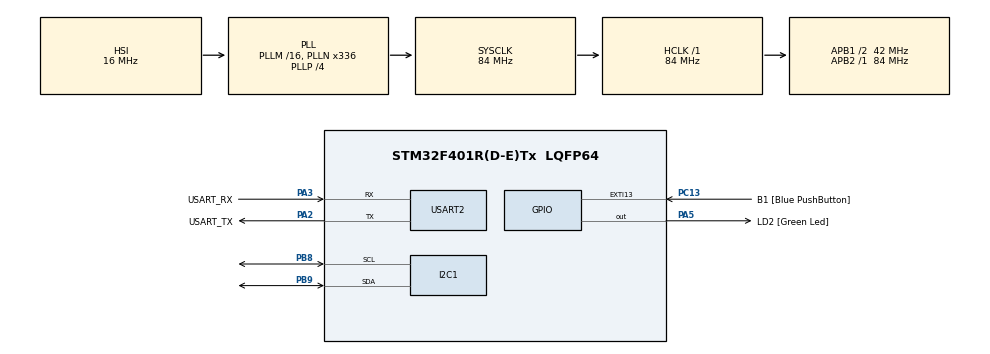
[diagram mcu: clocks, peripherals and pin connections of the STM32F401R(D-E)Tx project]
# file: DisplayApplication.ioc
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I2C1.I2C_Mode=I2C_Fast
Mcu.Family=STM32F4
Mcu.Name=STM32F401R(D-E)Tx
Mcu.Package=LQFP64
NVIC.PriorityGroup=NVIC_PRIORITYGROUP_0
PA13.GPIO_Label=TMS
PA13.Mode=Serial_Wire
PA13.Signal=SYS_JTMS-SWDIO
PA14.GPIO_Label=TCK
PA14.Mode=Serial_Wire
PA14.Signal=SYS_JTCK-SWCLK
PA2.GPIO_Label=USART_TX
PA2.GPIO_Mode=GPIO_MODE_AF_PP
PA2.GPIO_PuPd=GPIO_NOPULL
PA2.GPIO_Speed=GPIO_SPEED_FREQ_LOW
PA2.Mode=Asynchronous
PA2.Signal=USART2_TX
PA3.GPIO_Label=USART_RX
PA3.GPIO_Mode=GPIO_MODE_AF_PP
PA3.GPIO_PuPd=GPIO_NOPULL
PA3.GPIO_Speed=GPIO_SPEED_FREQ_LOW
PA3.Mode=Asynchronous
PA3.Signal=USART2_RX
PA5.GPIO_Label=LD2 [Green Led]
PA5.GPIO_Mode=GPIO_MODE_OUTPUT_PP
PA5.GPIO_PuPd=GPIO_NOPULL
PA5.GPIO_Speed=GPIO_SPEED_FREQ_LOW
PA5.Signal=GPIO_Output
PB3.GPIO_Label=SWO
PB3.Signal=SYS_JTDO-SWO
PB8.Mode=I2C
PB8.Signal=I2C1_SCL
PB9.Mode=I2C
PB9.Signal=I2C1_SDA
PC13-ANTI_TAMP.GPIO_Label=B1 [Blue PushButton]
PC13-ANTI_TAMP.GPIO_ModeDefaultEXTI=GPIO_MODE_IT_FALLING
PC13-ANTI_TAMP.GPIO_PuPd=GPIO_NOPULL
PC13-ANTI_TAMP.Signal=GPXTI13
PC14-OSC32_IN.Mode=LSE-External-Oscillator
PC14-OSC32_IN.Signal=RCC_OSC32_IN
PC15-OSC32_OUT.Mode=LSE-External-Oscillator
PC15-OSC32_OUT.Signal=RCC_OSC32_OUT
PH0\ -\ OSC_IN.Mode=HSE-External-Clock-Source
PH0\ -\ OSC_IN.Signal=RCC_OSC_IN
PH1\ -\ OSC_OUT.Mode=HSE-External-Clock-Source
PH1\ -\ OSC_OUT.Signal=RCC_OSC_OUT
ProjectManager.HeapSize=0x200
ProjectManager.StackSize=0x400
ProjectManager.TargetToolchain=STM32CubeIDE
RCC.48MHZClocksFreq_Value=48000000
RCC.AHBFreq_Value=84000000
RCC.APB1CLKDivider=RCC_HCLK_DIV2
RCC.APB1Freq_Value=42000000
RCC.APB1TimFreq_Value=84000000
RCC.APB2Freq_Value=84000000
RCC.APB2TimFreq_Value=84000000
RCC.CortexFreq_Value=84000000
RCC.HCLKFreq_Value=84000000
RCC.HSE_VALUE=8000000
RCC.HSI_VALUE=16000000
RCC.PLLN=336
RCC.PLLP=RCC_PLLP_DIV4
RCC.PLLQ=7
RCC.SYSCLKFreq_VALUE=84000000
RCC.SYSCLKSource=RCC_SYSCLKSOURCE_PLLCLK
RCC.VCOOutputFreq_Value=336000000
USART2.VirtualMode=VM_ASYNC
board=NUCLEO-F401RE

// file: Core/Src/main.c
/* USER CODE BEGIN Header */
/**
  ******************************************************************************
  * @file           : main.c
  * @brief          : Main program body
  ******************************************************************************
  * @attention
  *
  * Copyright (c) 2023 STMicroelectronics.
  * All rights reserved.
  *
  * This software is licensed under terms that can be found in the LICENSE file
  * in the root directory of this software component.
  * If no LICENSE file comes with this software, it is provided AS-IS.
  *
  ******************************************************************************
  */
/* USER CODE END Header */
#include "main.h"

/* USER CODE BEGIN Includes */
#include "stdio.h"
#include "fonts.h"
#include "ssd1306.h"

/* USER CODE END Includes */

/* USER CODE BEGIN PM */
#define MAJOR_VERSION	1
#define MINOR_VERSION	0
/* USER CODE END PM */

I2C_HandleTypeDef hi2c1;

UART_HandleTypeDef huart2;

/* USER CODE BEGIN PV */

uint8_t VerInfo[]= {MAJOR_VERSION,MINOR_VERSION};
uint8_t CountDn=20;
/* USER CODE END PV */

void SystemClock_Config(void);
static void MX_GPIO_Init(void);
static void MX_USART2_UART_Init(void);
static void MX_I2C1_Init(void);

int main(void)
{

  /* MCU Configuration--------------------------------------------------------*/

  /* Reset of all peripherals, Initializes the Flash interface and the Systick. */
  HAL_Init();

  /* Configure the system clock */
  SystemClock_Config();

  /* Initialize all configured peripherals */
  MX_GPIO_Init();
  MX_USART2_UART_Init();
  MX_I2C1_Init();
  /* USER CODE BEGIN 2 */
  SSD1306_Init();  // initialise
  SSD1306_Clear(); // Clear Content
  SSD1306_GotoXY (0,0);
  printf ("BootLoader  \n");
  SSD1306_GotoXY (0,20);
  printf("Version %d.%d\n",VerInfo[0],VerInfo[1]);
  SSD1306_UpdateScreen(); //display
  HAL_Delay (2000);
  NewScreen("Jumping To", "Application", "");

  /* USER CODE END 2 */

  /* Infinite loop */
  while (1)
  {
    /* USER CODE BEGIN 3 */
	  if(CountDn>0)
	  {
		  SSD1306_GotoXY (0,40);
		  	  CountDn--;
		  	  printf("    %d      \n",CountDn);
		  	  HAL_Delay (1000);
		  	  SSD1306_UpdateScreen(); //display
		  	  if(CountDn==0)
		  	  {
		  		NewScreen("Application", "1.1","");
		  	  }
	  }
  }
  /* USER CODE END 3 */
}

void SystemClock_Config(void)
{
  RCC_OscInitTypeDef RCC_OscInitStruct = {0};
  RCC_ClkInitTypeDef RCC_ClkInitStruct = {0};

  /** Configure the main internal regulator output voltage
  */
  __HAL_RCC_PWR_CLK_ENABLE();
  __HAL_PWR_VOLTAGESCALING_CONFIG(PWR_REGULATOR_VOLTAGE_SCALE2);

  /** Initializes the RCC Oscillators according to the specified parameters
  * in the RCC_OscInitTypeDef structure.
  */
  RCC_OscInitStruct.OscillatorType = RCC_OSCILLATORTYPE_HSI;
  RCC_OscInitStruct.HSIState = RCC_HSI_ON;
  RCC_OscInitStruct.HSICalibrationValue = RCC_HSICALIBRATION_DEFAULT;
  RCC_OscInitStruct.PLL.PLLState = RCC_PLL_ON;
  RCC_OscInitStruct.PLL.PLLSource = RCC_PLLSOURCE_HSI;
  RCC_OscInitStruct.PLL.PLLM = 16;
  RCC_OscInitStruct.PLL.PLLN = 336;
  RCC_OscInitStruct.PLL.PLLP = RCC_PLLP_DIV4;
  RCC_OscInitStruct.PLL.PLLQ = 7;
  if (HAL_RCC_OscConfig(&RCC_OscInitStruct) != HAL_OK)
  {
    Error_Handler();
  }

  /** Initializes the CPU, AHB and APB buses clocks
  */
  RCC_ClkInitStruct.ClockType = RCC_CLOCKTYPE_HCLK|RCC_CLOCKTYPE_SYSCLK
                              |RCC_CLOCKTYPE_PCLK1|RCC_CLOCKTYPE_PCLK2;
  RCC_ClkInitStruct.SYSCLKSource = RCC_SYSCLKSOURCE_PLLCLK;
  RCC_ClkInitStruct.AHBCLKDivider = RCC_SYSCLK_DIV1;
  RCC_ClkInitStruct.APB1CLKDivider = RCC_HCLK_DIV2;
  RCC_ClkInitStruct.APB2CLKDivider = RCC_HCLK_DIV1;

  if (HAL_RCC_ClockConfig(&RCC_ClkInitStruct, FLASH_LATENCY_2) != HAL_OK)
  {
    Error_Handler();
  }
}

static void MX_I2C1_Init(void)
{

  hi2c1.Instance = I2C1;
  hi2c1.Init.ClockSpeed = 400000;
  hi2c1.Init.DutyCycle = I2C_DUTYCYCLE_2;
  hi2c1.Init.OwnAddress1 = 0;
  hi2c1.Init.AddressingMode = I2C_ADDRESSINGMODE_7BIT;
  hi2c1.Init.DualAddressMode = I2C_DUALADDRESS_DISABLE;
  hi2c1.Init.OwnAddress2 = 0;
  hi2c1.Init.GeneralCallMode = I2C_GENERALCALL_DISABLE;
  hi2c1.Init.NoStretchMode = I2C_NOSTRETCH_DISABLE;
  if (HAL_I2C_Init(&hi2c1) != HAL_OK)
  {
    Error_Handler();
  }

}

static void MX_USART2_UART_Init(void)
{

  huart2.Instance = USART2;
  huart2.Init.BaudRate = 115200;
  huart2.Init.WordLength = UART_WORDLENGTH_8B;
  huart2.Init.StopBits = UART_STOPBITS_1;
  huart2.Init.Parity = UART_PARITY_NONE;
  huart2.Init.Mode = UART_MODE_TX_RX;
  huart2.Init.HwFlowCtl = UART_HWCONTROL_NONE;
  huart2.Init.OverSampling = UART_OVERSAMPLING_16;
  if (HAL_UART_Init(&huart2) != HAL_OK)
  {
    Error_Handler();
  }

}

static void MX_GPIO_Init(void)
{
  GPIO_InitTypeDef GPIO_InitStruct = {0};

  /* GPIO Ports Clock Enable */
  __HAL_RCC_GPIOC_CLK_ENABLE();
  __HAL_RCC_GPIOH_CLK_ENABLE();
  __HAL_RCC_GPIOA_CLK_ENABLE();
  __HAL_RCC_GPIOB_CLK_ENABLE();

  /*Configure GPIO pin Output Level */
  HAL_GPIO_WritePin(LD2_GPIO_Port, LD2_Pin, GPIO_PIN_RESET);

  /*Configure GPIO pin : B1_Pin */
  GPIO_InitStruct.Pin = B1_Pin;
  GPIO_InitStruct.Mode = GPIO_MODE_IT_FALLING;
  GPIO_InitStruct.Pull = GPIO_NOPULL;
  HAL_GPIO_Init(B1_GPIO_Port, &GPIO_InitStruct);

  /*Configure GPIO pin : LD2_Pin */
  GPIO_InitStruct.Pin = LD2_Pin;
  GPIO_InitStruct.Mode = GPIO_MODE_OUTPUT_PP;
  GPIO_InitStruct.Pull = GPIO_NOPULL;
  GPIO_InitStruct.Speed = GPIO_SPEED_FREQ_LOW;
  HAL_GPIO_Init(LD2_GPIO_Port, &GPIO_InitStruct);

}

/* USER CODE BEGIN 4 */
int _write(int file, char *ptr, int len)
{
	int DataIdx;
	  for (DataIdx = 0; DataIdx < len; DataIdx++)
	  {
		  SSD1306_Puts (ptr, &Font_11x18, 1);
	  }
  return len;
}

void NewScreen(char* line1,char* line2,char* line3)
{
	SSD1306_Clear(); // Clear Content
	SSD1306_GotoXY (0,0);
	SSD1306_Puts (line1, &Font_11x18, 1);
	SSD1306_GotoXY (0,20);
	SSD1306_Puts (line2, &Font_11x18, 1);
	SSD1306_GotoXY (0,40);
	SSD1306_Puts (line3, &Font_11x18, 1);
	SSD1306_UpdateScreen(); //display
}

/* USER CODE END 4 */

void Error_Handler(void)
{
  __disable_irq();
  while (1)
  {
  }
}
